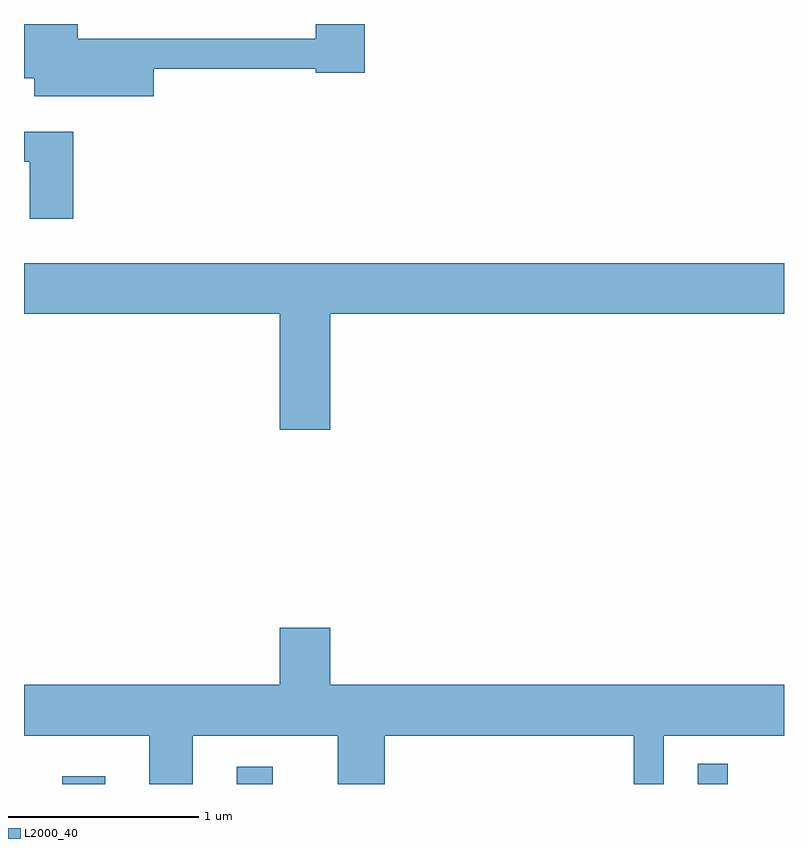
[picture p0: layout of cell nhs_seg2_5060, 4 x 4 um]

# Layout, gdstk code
import gdstk
lib = gdstk.Library(unit=1e-6, precision=1e-09)
def R(c, l, rs):  # rectangles x0, y0, x1, y1
    for r in rs: c.add(gdstk.rectangle(r[:2], r[2:], *l))
def P(c, l, *ps):  # polygons
    for p in ps: c.add(gdstk.Polygon(p, *l))
L2000_40 = (2000, 40)

nhs_seg2_5060 = lib.new_cell('nhs_seg2_5060')
R(nhs_seg2_5060, L2000_40, [(333.811,1085.802,334.039,1085.844), (334.731,1085.802,334.919,1085.894), (337.156,1085.802,337.314,1085.908)])
P(nhs_seg2_5060, L2000_40, [(334.294,1089.566),(335.146,1089.566),(335.146,1089.546),(335.404,1089.546),(335.404,1089.802),(335.146,1089.802),(335.146,1089.724),(333.894,1089.724),(333.894,1089.802),(333.611,1089.802),(333.611,1089.516),(333.666,1089.516),(333.666,1089.421),(334.294,1089.421)],
  [(333.869,1089.234),(333.611,1089.234),(333.611,1089.076),(333.641,1089.076),(333.641,1088.776),(333.869,1088.776)],
  [(335.224,1088.276),(337.611,1088.276),(337.611,1088.544),(333.611,1088.544),(333.611,1088.276),(334.956,1088.276),(334.956,1087.666),(335.224,1087.666)],
  [(335.224,1086.624),(334.956,1086.624),(334.956,1086.324),(333.611,1086.324),(333.611,1086.056),(334.271,1086.056),(334.271,1085.802),(334.499,1085.802),(334.499,1086.056),(335.261,1086.056),(335.261,1085.802),(335.509,1085.802),(335.509,1086.056),(336.821,1086.056),(336.821,1085.802),(336.979,1085.802),(336.979,1086.056),(337.611,1086.056),(337.611,1086.324),(335.224,1086.324)])

lib.write_gds('nhs_seg2_5060.gds')
